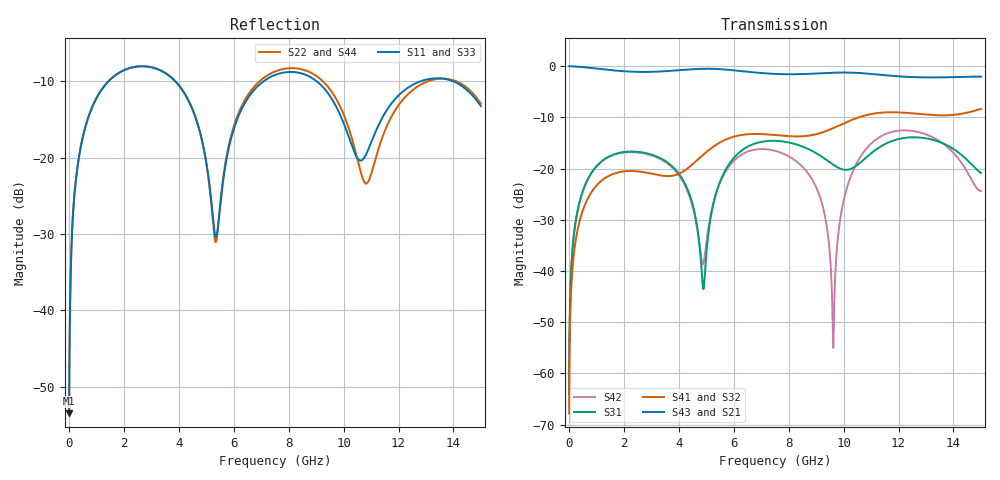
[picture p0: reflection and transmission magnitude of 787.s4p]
! Created with skrf 1.8.0 (http://scikit-rf.org).
# GHz S RI R 50.0
!freq ReS11 ImS11 ReS12 ImS12 ReS13 ImS13
! ReS14 ImS14
! ReS21 ImS21 ReS22 ImS22 ReS23 ImS23
! ReS24 ImS24
! ReS31 ImS31 ReS32 ImS32 ReS33 ImS33
! ReS34 ImS34
! ReS41 ImS41 ReS42 ImS42 ReS43 ImS43
! ReS44 ImS44
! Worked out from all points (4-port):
!   2499 points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, 5 MHz to 15 GHz, reference 50 ohm
!   strongest paths, dB at 5 MHz, 3.476 GHz, 7.19 GHz, 11.1 GHz, 15 GHz:
!     S43: 0.0, -1.0, -1.4, -1.6, -2.1
!     S21: 0.0, -1.0, -1.4, -1.6, -2.1
!     S41: -67.8, -21.5, -13.3, -9.3, -8.4
!     S32: -67.8, -21.4, -13.3, -9.3, -8.4
!     S31: -64.0, -18.4, -14.7, -16.6, -20.9
!     S42: -64.0, -18.6, -16.2, -14.7, -24.4
!   lowest |S11| = -53.5 dB at 5 MHz (marker M1), VSWR 1.00, Z = 50.2 + j0.129 ohm
!   |S11| at or under -10 dB: start of sweep to 1.434 GHz; 3.875 GHz to 7.079 GHz (3.204 GHz wide, 58.5 % of centre); 9.027 GHz to 12.79 GHz (3.764 GHz wide, 34.5 % of centre) (the widest 3 of 4)
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0.005  0.00168 0.00128  0.9983 -0.00327  8.31e-05 0.000625  -8.1e-05 -0.000399
       0.9983 -0.00327  0.00168 0.00128  -8.1e-05 -0.000399  8.31e-05 0.000626
       8.31e-05 0.000625  -8.1e-05 -0.000399  0.00168 0.00128  0.9983 -0.00327
       -8.1e-05 -0.000399  8.31e-05 0.000626  0.9983 -0.00327  0.00168 0.00128
1.569404  0.2827 0.177  0.5242 -0.745  0.1251 0.051  -0.0876 -0.00262
          0.5242 -0.745  0.2839 0.1761  -0.0876 -0.00261  0.122 0.0555
          0.1251 0.051  -0.0876 -0.00261  0.2827 0.177  0.5242 -0.745
          -0.0876 -0.00262  0.122 0.0555  0.5242 -0.745  0.2839 0.1761
4.89579  0.0574 -0.1032  -0.8862 -0.3154  -0.00665 2.26e-06  -0.0423 0.1302
         -0.8862 -0.3154  0.0541 -0.1038  -0.042 0.1303  -0.0118 0.000268
         -0.00665 2.26e-06  -0.042 0.1303  0.0583 -0.1027  -0.8862 -0.3155
         -0.0423 0.1302  -0.0118 0.000268  -0.8862 -0.3155  0.0531 -0.1039
8.234681  0.3633 -0.0133  -0.00694 0.8328  0.1169 -0.1278  0.1993 -0.0517
          -0.00694 0.8328  0.384 -0.0365  0.199 -0.0519  0.1141 -0.037
          0.1169 -0.1278  0.199 -0.0519  0.3627 -0.0151  -0.00734 0.833
          0.1993 -0.0517  0.1141 -0.037  -0.00734 0.833  0.3835 -0.0343
9.622759  0.1932 -0.133  0.5994 0.6187  -0.0689 -0.0845  0.1735 -0.177
          0.5994 0.6187  0.1926 -0.1769  0.1732 -0.1773  -0.00148 -0.000975
          -0.0689 -0.0845  0.1732 -0.1773  0.1923 -0.1337  0.5991 0.6192
          0.1735 -0.177  -0.00148 -0.000975  0.5991 0.6192  0.1931 -0.1756
11.1484  0.1271 0.0712  0.8251 -0.102  0.0211 0.1493  -0.0645 -0.3393
         0.8251 -0.102  0.0857 0.0435  -0.0654 -0.3391  0.1009 0.1598
         0.0211 0.1493  -0.0654 -0.3391  0.1274 0.0694  0.8255 -0.1006
         -0.0645 -0.3393  0.1009 0.1598  0.8255 -0.1006  0.0845 0.0426
15  0.1954 -0.097  -0.508 -0.6  -0.0689 -0.0586  -0.288 0.2502
    -0.508 -0.6  0.1925 -0.1183  -0.2874 0.2508  -0.0535 -0.0281
    -0.0689 -0.0586  -0.2874 0.2508  0.1874 -0.0947  -0.5092 -0.6014
    -0.288 0.2502  -0.0535 -0.0281  -0.5092 -0.6014  0.1888 -0.1106
